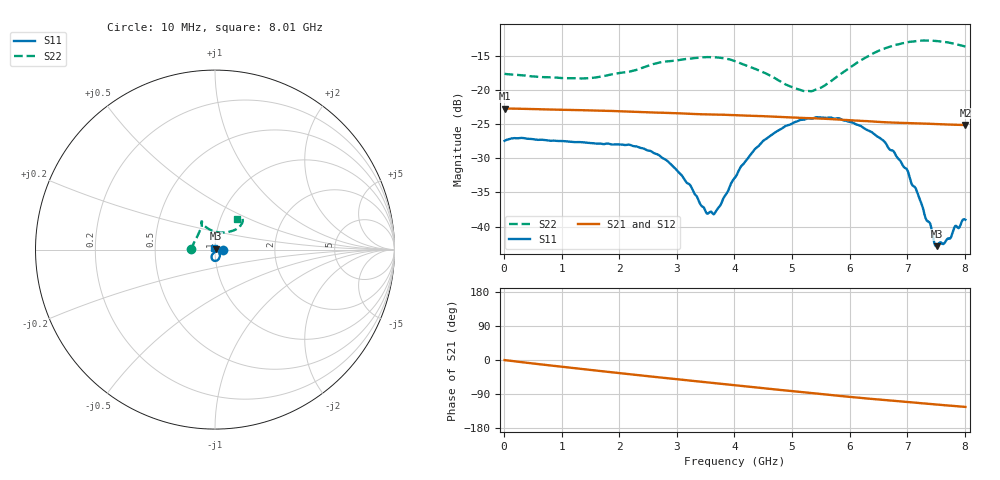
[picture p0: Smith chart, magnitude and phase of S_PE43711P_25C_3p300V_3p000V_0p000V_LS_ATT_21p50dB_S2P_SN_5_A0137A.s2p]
! Device ID: PE43711P
! File Path: z:\PE43711P\CHAR_NOM_04282014\AMB\3p300\LS_ATT_21p50dB\PE43711P_AMB_3p300V_3p000V_0p000V_LS_ATT_21p50dB_S2P_SN_5_A0137A.s2p
! Serial: 5
! Lot: A0137A
! Temp: 25C
! VDD: 3.300
! VSS: 0.000
! Control_Hi: 3.000
! Control_Lo: 0.000
! Attenuation Step: 21.50dB
! Port 1: RF1
! Port 2: RF2
! ThroughPath:1-2
! IDD: 0.0001275401
! ISS: -1.37e-007
#  Hz  S  RI  R  50
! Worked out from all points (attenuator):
!   801 points, 10 MHz to 8.01 GHz, reference 50 ohm
!   highest |S21| = -22.70 dB at 10 MHz (marker M1); lowest = -25.1 dB at 8.01 GHz (marker M2)
!   lowest |S11| = -42.9 dB at 7.51 GHz (marker M3), VSWR 1.01, Z = 50.6 + j0.441 ohm
!   |S11| at or under -10 dB: start of sweep to end of sweep
!   |S22| runs from -20.2 to -12.7 dB; largest |S21 - S12| = 0.00019
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1e7  0.0425 0.000294  0.0733 -0.000323  0.0733 -0.000336  -0.1318 0.000998
3e8  0.0446 -0.00236  0.0726 -0.0071  0.0727 -0.00708  -0.1279 0.0124
1.35e9  0.0402 -0.00999  0.0653 -0.0286  0.0653 -0.0286  -0.1046 0.0621
2.18e9  0.0384 -0.0105  0.0551 -0.0425  0.0551 -0.0425  -0.0802 0.1106
2.68e9  0.0326 -0.00806  0.0478 -0.0488  0.0478 -0.0488  -0.0738 0.1406
3.07e9  0.0229 -0.00725  0.0416 -0.0532  0.0416 -0.0532  -0.0723 0.1507
3.54e9  0.00629 -0.0108  0.034 -0.057  0.034 -0.0569  -0.0748 0.1578
3.68e9  0.00104 -0.0129  0.0317 -0.058  0.0317 -0.058  -0.0757 0.1565
4.01e9  -0.00998 -0.0205  0.026 -0.0601  0.026 -0.0602  -0.074 0.1453
4.32e9  -0.0175 -0.0309  0.0206 -0.0614  0.0206 -0.0614  -0.0605 0.1321
4.52e9  -0.019 -0.0387  0.017 -0.0621  0.017 -0.0621  -0.049 0.1248
4.9e9  -0.0166 -0.0523  0.0104 -0.0624  0.0103 -0.0624  -0.0205 0.1075
5.35e9  -0.0058 -0.0615  0.00284 -0.0621  0.00287 -0.0622  0.0258 0.095
6.05e9  0.0189 -0.0547  -0.00835 -0.0594  -0.0084 -0.0595  0.1058 0.1074
6.4e9  0.0259 -0.0411  -0.0132 -0.0574  -0.0133 -0.0575  0.1354 0.1259
6.68e9  0.0262 -0.0265  -0.0165 -0.0556  -0.0165 -0.0556  0.1488 0.1443
7e9  0.0227 -0.0126  -0.0202 -0.0536  -0.0202 -0.0537  0.1549 0.1616
7.18e9  0.0168 -0.00487  -0.0224 -0.0524  -0.0224 -0.0525  0.1534 0.1704
7.51e9  0.0057 0.00436  -0.0261 -0.05  -0.026 -0.05  0.1421 0.1795
7.65e9  0.000368 0.00757  -0.0275 -0.0489  -0.0275 -0.0489  0.136 0.1801
7.83e9  -0.00477 0.00883  -0.0292 -0.0475  -0.0292 -0.0475  0.1274 0.1771
8.01e9  -0.00796 0.0079  -0.0308 -0.0461  -0.031 -0.046  0.121 0.1693
